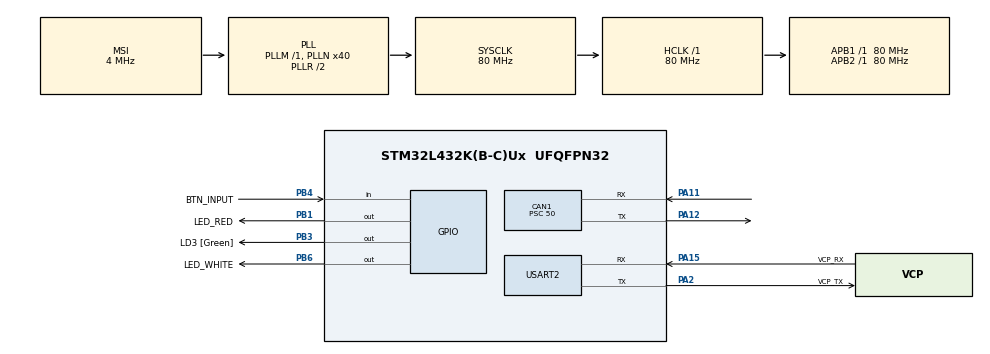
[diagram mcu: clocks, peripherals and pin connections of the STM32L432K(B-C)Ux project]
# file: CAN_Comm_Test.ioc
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CAN1.AWUM=DISABLE
CAN1.BS1=CAN_BS1_13TQ
CAN1.BS2=CAN_BS2_2TQ
CAN1.CalculateBaudRate=100000
CAN1.CalculateTimeBit=10000
CAN1.CalculateTimeQuantum=625.0
CAN1.Mode=CAN_MODE_SILENT_LOOPBACK
CAN1.Prescaler=50
Mcu.Family=STM32L4
Mcu.Name=STM32L432K(B-C)Ux
Mcu.Package=UFQFPN32
NVIC.CAN1_RX0_IRQn=true\:0\:0\:false\:false\:true\:true\:true\:true
NVIC.CAN1_SCE_IRQn=true\:0\:0\:false\:false\:true\:true\:true\:true
NVIC.CAN1_TX_IRQn=true\:0\:0\:false\:false\:true\:true\:true\:true
NVIC.PriorityGroup=NVIC_PRIORITYGROUP_4
PA0.GPIO_Label=MCO [High speed clock in]
PA0.Mode=HSE-External-Clock-Source-for-LittleOrca
PA0.Signal=RCC_CK_IN
PA11.Mode=CAN_Activate
PA11.Signal=CAN1_RX
PA12.Mode=CAN_Activate
PA12.Signal=CAN1_TX
PA13\ (JTMS-SWDIO).GPIO_Label=SWDIO
PA13\ (JTMS-SWDIO).Mode=Serial_Wire
PA13\ (JTMS-SWDIO).Signal=SYS_JTMS-SWDIO
PA14\ (JTCK-SWCLK).GPIO_Label=SWCLK
PA14\ (JTCK-SWCLK).Mode=Serial_Wire
PA14\ (JTCK-SWCLK).Signal=SYS_JTCK-SWCLK
PA15\ (JTDI).GPIO_Label=VCP_RX
PA15\ (JTDI).Mode=Asynchronous
PA15\ (JTDI).Signal=USART2_RX
PA2.GPIO_Label=VCP_TX
PA2.Mode=Asynchronous
PA2.Signal=USART2_TX
PB1.GPIO_Label=LED_RED
PB1.Signal=GPIO_Output
PB3\ (JTDO-TRACESWO).GPIO_Label=LD3 [Green]
PB3\ (JTDO-TRACESWO).Signal=GPIO_Output
PB4\ (NJTRST).GPIO_Label=BTN_INPUT
PB4\ (NJTRST).Signal=GPIO_Input
PB6.GPIO_Label=LED_WHITE
PB6.Signal=GPIO_Output
PC14-OSC32_IN\ (PC14).Mode=LSE-External-Oscillator
PC14-OSC32_IN\ (PC14).Signal=RCC_OSC32_IN
PC15-OSC32_OUT\ (PC15).Mode=LSE-External-Oscillator
PC15-OSC32_OUT\ (PC15).Signal=RCC_OSC32_OUT
ProjectManager.HeapSize=0x200
ProjectManager.StackSize=0x400
ProjectManager.TargetToolchain=STM32CubeIDE
RCC.AHBFreq_Value=80000000
RCC.APB1Freq_Value=80000000
RCC.APB1TimFreq_Value=80000000
RCC.APB2Freq_Value=80000000
RCC.APB2TimFreq_Value=80000000
RCC.CortexFreq_Value=80000000
RCC.HCLKFreq_Value=80000000
RCC.HSE_VALUE=8000000
RCC.HSI16_VALUE=16000000
RCC.HSI48_VALUE=48000000
RCC.HSI_VALUE=16000000
RCC.MSI_VALUE=4000000
RCC.PLLMUL=RCC_PLLMUL_4
RCC.PLLN=40
RCC.SYSCLKFreq_VALUE=80000000
RCC.SYSCLKSource=RCC_SYSCLKSOURCE_PLLCLK
RCC.VCOOutputFreq_Value=160000000
USART2.VirtualMode-Asynchronous=VM_ASYNC
board=NUCLEO-L432KC

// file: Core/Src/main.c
/* USER CODE BEGIN Header */
/**
  ******************************************************************************
  * @file           : main.c
  * @brief          : Main program body
  ******************************************************************************
  * @attention
  *
  * Copyright (c) 2024 STMicroelectronics.
  * All rights reserved.
  *
  * This software is licensed under terms that can be found in the LICENSE file
  * in the root directory of this software component.
  * If no LICENSE file comes with this software, it is provided AS-IS.
  *
  ******************************************************************************
  */
/* USER CODE END Header */
#include "main.h"

CAN_HandleTypeDef hcan1;

UART_HandleTypeDef huart2;

/* USER CODE BEGIN PV */
unsigned int btn_is_pressed = 0;
unsigned int data_check = 0;
uint8_t data_send = 0;

uint32_t CAN_ID = 0x103;

/* USER CODE END PV */

void SystemClock_Config(void);
static void MX_GPIO_Init(void);
static void MX_CAN1_Init(void);
static void MX_USART2_UART_Init(void);

/* USER CODE BEGIN 0 */
CAN_TxHeaderTypeDef TxHeader;
CAN_RxHeaderTypeDef RxHeader;

uint8_t TxData[8];
uint8_t RxData[8];

uint32_t TxMailbox;

/* USER CODE END 0 */

int main(void)
{

  /* MCU Configuration--------------------------------------------------------*/

  /* Reset of all peripherals, Initializes the Flash interface and the Systick. */
  HAL_Init();

  /* Configure the system clock */
  SystemClock_Config();

  /* Initialize all configured peripherals */
  MX_GPIO_Init();
  MX_CAN1_Init();
  MX_USART2_UART_Init();
  /* USER CODE BEGIN 2 */
  HAL_GPIO_WritePin(LD3_GPIO_Port, LD3_Pin, GPIO_PIN_RESET);
  HAL_GPIO_WritePin(LED_RED_GPIO_Port, LED_RED_Pin, GPIO_PIN_RESET);
  HAL_GPIO_WritePin(LED_WHITE_GPIO_Port, LED_WHITE_Pin, GPIO_PIN_RESET);

  TxHeader.DLC = 1;
  TxHeader.IDE = CAN_ID_STD;
  TxHeader.RTR = CAN_RTR_DATA;
  TxHeader.StdId = 0x103;

  if (HAL_CAN_Start(&hcan1) != HAL_OK)
  {
	  Error_Handler();
  }

  if (HAL_CAN_ActivateNotification(&hcan1, CAN_IT_RX_FIFO0_MSG_PENDING) != HAL_OK)
  {
	  Error_Handler();
  }

  if (HAL_CAN_ActivateNotification(&hcan1, CAN_IT_ERROR) != HAL_OK)
  {
	  Error_Handler();
  }

  /* USER CODE END 2 */

  /* Infinite loop */
  while (1)
  {

    /* USER CODE BEGIN 3 */
	  // If button is pressed: turn on non-red LED, and send CAN data
	  if (HAL_GPIO_ReadPin(BTN_INPUT_GPIO_Port, BTN_INPUT_Pin) && !btn_is_pressed)
	  {
		  HAL_GPIO_WritePin(LED_WHITE_GPIO_Port, LED_WHITE_Pin, GPIO_PIN_SET);
		  btn_is_pressed = 1;

		  // Toggle data sent, and fill it in data message and send it
		  data_send = !data_send;
		  TxData[0] = data_send;

		  if (HAL_CAN_AddTxMessage(&hcan1, &TxHeader, TxData, &TxMailbox) != HAL_OK)
		  {
			  Error_Handler();
		  }
	  }

	  // If button is released: turn off non-red LED
	  if (!HAL_GPIO_ReadPin(BTN_INPUT_GPIO_Port, BTN_INPUT_Pin) && btn_is_pressed)
	  {
		  HAL_GPIO_WritePin(LED_WHITE_GPIO_Port, LED_WHITE_Pin, GPIO_PIN_RESET);
		  btn_is_pressed = 0;
	  }

	  // Turn on red LED if data is received
	  if (data_check)
	  {
		  HAL_GPIO_WritePin(LED_RED_GPIO_Port, LED_RED_Pin, GPIO_PIN_SET);
	  }
	  else
	  {
		  HAL_GPIO_WritePin(LED_RED_GPIO_Port, LED_RED_Pin, GPIO_PIN_RESET);
	  }

	  // Check for message
	  if (HAL_CAN_GetRxFifoFillLevel(&hcan1, CAN_RX_FIFO0) > 0)
	  {
		HAL_CAN_GetRxMessage(&hcan1, CAN_RX_FIFO0, &RxHeader, RxData);
		data_check = RxData[0];
	  }
  }
  /* USER CODE END 3 */
}

void SystemClock_Config(void)
{
  RCC_OscInitTypeDef RCC_OscInitStruct = {0};
  RCC_ClkInitTypeDef RCC_ClkInitStruct = {0};

  /** Configure the main internal regulator output voltage
  */
  if (HAL_PWREx_ControlVoltageScaling(PWR_REGULATOR_VOLTAGE_SCALE1) != HAL_OK)
  {
    Error_Handler();
  }

  /** Configure LSE Drive Capability
  */
  HAL_PWR_EnableBkUpAccess();
  __HAL_RCC_LSEDRIVE_CONFIG(RCC_LSEDRIVE_LOW);

  /** Initializes the RCC Oscillators according to the specified parameters
  * in the RCC_OscInitTypeDef structure.
  */
  RCC_OscInitStruct.OscillatorType = RCC_OSCILLATORTYPE_LSE|RCC_OSCILLATORTYPE_MSI;
  RCC_OscInitStruct.LSEState = RCC_LSE_ON;
  RCC_OscInitStruct.MSIState = RCC_MSI_ON;
  RCC_OscInitStruct.MSICalibrationValue = 0;
  RCC_OscInitStruct.MSIClockRange = RCC_MSIRANGE_6;
  RCC_OscInitStruct.PLL.PLLState = RCC_PLL_ON;
  RCC_OscInitStruct.PLL.PLLSource = RCC_PLLSOURCE_MSI;
  RCC_OscInitStruct.PLL.PLLM = 1;
  RCC_OscInitStruct.PLL.PLLN = 40;
  RCC_OscInitStruct.PLL.PLLP = RCC_PLLP_DIV7;
  RCC_OscInitStruct.PLL.PLLQ = RCC_PLLQ_DIV2;
  RCC_OscInitStruct.PLL.PLLR = RCC_PLLR_DIV2;
  if (HAL_RCC_OscConfig(&RCC_OscInitStruct) != HAL_OK)
  {
    Error_Handler();
  }

  /** Initializes the CPU, AHB and APB buses clocks
  */
  RCC_ClkInitStruct.ClockType = RCC_CLOCKTYPE_HCLK|RCC_CLOCKTYPE_SYSCLK
                              |RCC_CLOCKTYPE_PCLK1|RCC_CLOCKTYPE_PCLK2;
  RCC_ClkInitStruct.SYSCLKSource = RCC_SYSCLKSOURCE_PLLCLK;
  RCC_ClkInitStruct.AHBCLKDivider = RCC_SYSCLK_DIV1;
  RCC_ClkInitStruct.APB1CLKDivider = RCC_HCLK_DIV1;
  RCC_ClkInitStruct.APB2CLKDivider = RCC_HCLK_DIV1;

  if (HAL_RCC_ClockConfig(&RCC_ClkInitStruct, FLASH_LATENCY_4) != HAL_OK)
  {
    Error_Handler();
  }

  /** Enable MSI Auto calibration
  */
  HAL_RCCEx_EnableMSIPLLMode();
}

static void MX_CAN1_Init(void)
{

  hcan1.Instance = CAN1;
  hcan1.Init.Prescaler = 50;
  hcan1.Init.Mode = CAN_MODE_SILENT_LOOPBACK;
  hcan1.Init.SyncJumpWidth = CAN_SJW_1TQ;
  hcan1.Init.TimeSeg1 = CAN_BS1_13TQ;
  hcan1.Init.TimeSeg2 = CAN_BS2_2TQ;
  hcan1.Init.TimeTriggeredMode = DISABLE;
  hcan1.Init.AutoBusOff = DISABLE;
  hcan1.Init.AutoWakeUp = DISABLE;
  hcan1.Init.AutoRetransmission = DISABLE;
  hcan1.Init.ReceiveFifoLocked = DISABLE;
  hcan1.Init.TransmitFifoPriority = DISABLE;
  if (HAL_CAN_Init(&hcan1) != HAL_OK)
  {
    Error_Handler();
  }
  /* USER CODE BEGIN CAN1_Init 2 */
  CAN_FilterTypeDef can_filter_config;

  can_filter_config.FilterActivation = CAN_FILTER_ENABLE;
  can_filter_config.FilterBank = 0;
  can_filter_config.FilterFIFOAssignment = CAN_FILTER_FIFO0;
  can_filter_config.FilterIdHigh = 0xFFFF << 5;
  can_filter_config.FilterIdLow = 0;
  can_filter_config.FilterMaskIdHigh = 0x0000;
  can_filter_config.FilterMaskIdLow = 0x0000;
  can_filter_config.FilterMode = CAN_FILTERMODE_IDMASK;
  can_filter_config.FilterScale = CAN_FILTERSCALE_32BIT;
  can_filter_config.SlaveStartFilterBank = 0;

  if (HAL_CAN_ConfigFilter(&hcan1, &can_filter_config) != HAL_OK)
  {
	  Error_Handler();
  }

  /* USER CODE END CAN1_Init 2 */

}

static void MX_USART2_UART_Init(void)
{

  huart2.Instance = USART2;
  huart2.Init.BaudRate = 115200;
  huart2.Init.WordLength = UART_WORDLENGTH_8B;
  huart2.Init.StopBits = UART_STOPBITS_1;
  huart2.Init.Parity = UART_PARITY_NONE;
  huart2.Init.Mode = UART_MODE_TX_RX;
  huart2.Init.HwFlowCtl = UART_HWCONTROL_NONE;
  huart2.Init.OverSampling = UART_OVERSAMPLING_16;
  huart2.Init.OneBitSampling = UART_ONE_BIT_SAMPLE_DISABLE;
  huart2.AdvancedInit.AdvFeatureInit = UART_ADVFEATURE_NO_INIT;
  if (HAL_UART_Init(&huart2) != HAL_OK)
  {
    Error_Handler();
  }

}

static void MX_GPIO_Init(void)
{
  GPIO_InitTypeDef GPIO_InitStruct = {0};

  /* GPIO Ports Clock Enable */
  __HAL_RCC_GPIOC_CLK_ENABLE();
  __HAL_RCC_GPIOA_CLK_ENABLE();
  __HAL_RCC_GPIOB_CLK_ENABLE();

  /*Configure GPIO pin Output Level */
  HAL_GPIO_WritePin(GPIOB, LED_RED_Pin|LD3_Pin|LED_WHITE_Pin, GPIO_PIN_RESET);

  /*Configure GPIO pins : LED_RED_Pin LD3_Pin LED_WHITE_Pin */
  GPIO_InitStruct.Pin = LED_RED_Pin|LD3_Pin|LED_WHITE_Pin;
  GPIO_InitStruct.Mode = GPIO_MODE_OUTPUT_PP;
  GPIO_InitStruct.Pull = GPIO_NOPULL;
  GPIO_InitStruct.Speed = GPIO_SPEED_FREQ_LOW;
  HAL_GPIO_Init(GPIOB, &GPIO_InitStruct);

  /*Configure GPIO pin : BTN_INPUT_Pin */
  GPIO_InitStruct.Pin = BTN_INPUT_Pin;
  GPIO_InitStruct.Mode = GPIO_MODE_INPUT;
  GPIO_InitStruct.Pull = GPIO_NOPULL;
  HAL_GPIO_Init(BTN_INPUT_GPIO_Port, &GPIO_InitStruct);

}

/* USER CODE BEGIN 4 */
void HAL_CAN_RxFifo0MsgPendingCallback(CAN_HandleTypeDef *hcan)
{
	HAL_CAN_GetRxMessage(hcan, CAN_RX_FIFO0, &RxHeader, RxData);
	data_check = RxData[0];
}

void HAL_CAN_ErrorCallback(CAN_HandleTypeDef *hcan)
{
	HAL_GPIO_WritePin(LD3_GPIO_Port, LD3_Pin, GPIO_PIN_SET);
	Error_Handler();
}

/* USER CODE END 4 */

void Error_Handler(void)
{
  __disable_irq();
  while (1)
  {
  }
}
